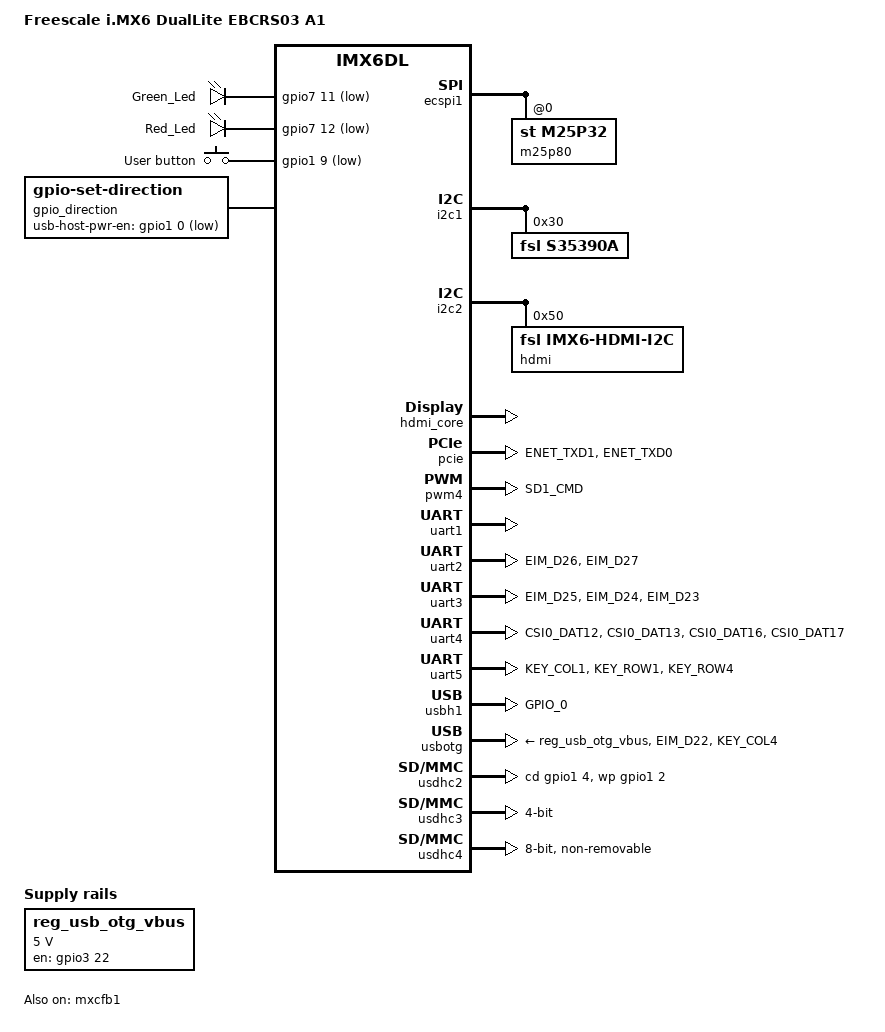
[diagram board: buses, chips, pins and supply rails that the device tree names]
/*
 * Copyright 2012 Freescale Semiconductor, Inc.
 * Copyright 2011 Linaro Ltd.
 *
 * The code contained herein is licensed under the GNU General Public
 * License. You may obtain a copy of the GNU General Public License
 * Version 2 or later at the following locations:
 *
 * http://www.opensource.org/licenses/gpl-license.html
 * http://www.gnu.org/copyleft/gpl.html
 */

/dts-v1/;

#include "imx6dl.dtsi"
#include "imx6qdl-advantech.dtsi"

/ {
	model = "Freescale i.MX6 DualLite EBCRS03 A1";
	compatible = "fsl,imx6dl-sabresd", "fsl,imx6dl";

	board {
		compatible = "proc-board";
		board-type = "EBC-RS03 A1";
		board-cpu = "DualLiteSolo";
	};

	regulators {

		reg_usb_otg_vbus: usb_otg_vbus {
			compatible = "regulator-fixed";
			regulator-name = "usb_otg_vbus";
			regulator-min-microvolt = <5000000>;
			regulator-max-microvolt = <5000000>;
			gpio = <&gpio3 22  GPIO_ACTIVE_HIGH>;
			enable-active-high;
		};
	};

	leds {
		compatible = "gpio-leds";
		pinctrl-names = "default";
		pinctrl-0 = <&pinctrl_leds_debug_1>;
		green {
			label = "Green_Led";
			gpios = <&gpio7 11 1>;
			default-state = "on";
			linux,default-trigger = "heartbeat";
		};
		red {
			label = "Red_Led";
			gpios = <&gpio7 12 1>;
			default-state = "on";
			linux,default-trigger = "heartbeat";
		};
	};

        gpio-keys {
                compatible = "gpio-keys";
                #address-cells = <1>;
                #size-cells = <0>;
                pinctrl-0 = <&pinctrl_user_key>;
                pinctrl-names = "default";
                power@1 {
                        label = "User button";
                        gpios = <&gpio1 9 1>; /* GPIO_ACTIVE_LOW:1 */
                        linux,input-type = <1>; /* EV_KEY */
                        linux,code = <240>;     /* KEY_UNKNOWN */
                        debounce_interval = <1>;
                };
        };

        gpio_direction {
                pinctrl-names = "default";
                compatible = "gpio-set-direction";
                usb-host-pwr-en = <&gpio1 0 1>;
        };

};

&audio_sgtl5000 {
	status = "disabled";
};

&ecspi1 {
	m25p80@0 {
		compatible = "st,m25p32";
	};
};

&i2c1 {
	pinctrl-0 = <&pinctrl_i2c1_1>;
	s35390a@30 {
		compatible = "fsl,s35390a";
		reg = <0x30>;
	};
};

&i2c2 {

	hdmi: edid@50 {
		compatible = "fsl,imx6-hdmi-i2c";
		reg = <0x50>;
	};
};

&iomuxc {
	pinctrl-names = "default";
	pinctrl-0 = <&pinctrl_hog_1 &pinctrl_hog_2>;

	hog {
		pinctrl_hog_1: hoggrp-1 {
			fsl,pins = <
				MX6QDL_PAD_EIM_D30__GPIO3_IO30		0x0001B0B0	/* BORAD_ID0 */
				MX6QDL_PAD_EIM_D31__GPIO3_IO31		0x000130B0	/* BORAD_ID1 */

			>;
		};

		pinctrl_hog_2: hoggrp-2 {
			fsl,pins = <
				MX6QDL_PAD_GPIO_2__GPIO1_IO02		0x80000000	/* SD2_WP */
				MX6QDL_PAD_GPIO_4__GPIO1_IO04		0x80000000	/* SD2_CD */
				MX6QDL_PAD_SD3_DAT7__GPIO6_IO17		0x80000000	/* SD3_WAKE */
				MX6QDL_PAD_NANDF_CS2__GPIO6_IO15	0x80000000	/* M2_RST */
				MX6QDL_PAD_NANDF_ALE__GPIO6_IO08	0x80000000	/* EMMC_RESET */
				MX6QDL_PAD_NANDF_D0__GPIO2_IO00		0x80000000	/* LAN0_RESET */
				MX6QDL_PAD_NANDF_D4__GPIO2_IO04		0x80000000	/* LAN1_RESET  */
				MX6QDL_PAD_SD3_RST__SD3_RESET		0x80000000	/* SD3_RESET */
				MX6QDL_PAD_NANDF_ALE__GPIO6_IO08	0x80000000	/* EMMC_RESET */
				MX6QDL_PAD_NANDF_RB0__GPIO6_IO10	0x80000000	/* HUB_RESET */		
				MX6QDL_PAD_EIM_CS0__GPIO2_IO23		0x80000000	/* IMX6_DO2 */
				MX6QDL_PAD_EIM_CS1__GPIO2_IO24		0x80000000	/* IMX6_DO3 */
				MX6QDL_PAD_EIM_OE__GPIO2_IO25		0x80000000	/* IMX6_DO1 */
				MX6QDL_PAD_ENET_RXD1__GPIO1_IO26        0x80000000	/* LAN_INT */
				MX6QDL_PAD_SD1_DAT1__GPIO1_IO17      	0x80000000	/* M2_LED1 */
				MX6QDL_PAD_SD1_DAT0__GPIO1_IO16      	0x80000000	/* M2_IRQ */
				MX6QDL_PAD_SD1_DAT3__GPIO1_IO21      	0x80000000	/* UART4_WAKE */
				MX6QDL_PAD_SD1_CMD__GPIO1_IO18      	0x80000000	/* M2_W_DIS2 */
				MX6QDL_PAD_SD1_DAT2__GPIO1_IO19      	0x80000000	/* M2_LED2 */
				MX6QDL_PAD_SD1_CLK__GPIO1_IO20      	0x80000000	/* M2_W_DIS1 */
			>;
		};
	};

        gpio-keys {
                pinctrl_user_key: gpio_userkeygrp-1 {
                        fsl,pins = <
				MX6QDL_PAD_GPIO_9__GPIO1_IO09	        0x80000000	/* USER_BTN*/
                        >;
                };
        };


	leds {
		pinctrl_leds_debug_1: leds_debug1grp-1{
			fsl,pins = <
				MX6QDL_PAD_GPIO_16__GPIO7_IO11		0x1b0b1 /* gpio - green led */
				MX6QDL_PAD_GPIO_17__GPIO7_IO12		0x1b0b1	/* gpio - red led */
			>;
		};
	};

	pcie {
                pinctrl_pcie_1: pcie1grp-1 {
                        fsl,pins = <
                                MX6QDL_PAD_ENET_TXD1__GPIO1_IO29        0x80000000      /* PCIE_WAKE */
                                MX6QDL_PAD_ENET_TXD0__GPIO1_IO30        0x80000000      /* PCIE_CLKREQ */
                        >;
                };
	};

	pwm4 {
		pinctrl_pwm4_1: pwm4grp-1 {
			fsl,pins = <
				MX6QDL_PAD_SD1_CMD__PWM4_OUT		0x1b0b1
			>;
		};
	};

	spi1 {
		pinctrl_ecspi1_cs_0: ecspi1_cs_grp-0 {
			fsl,pins = <
				MX6QDL_PAD_EIM_EB2__GPIO2_IO30		0x80000000	/* ECSPI1_CS0 */
			>;
		};
	};

	uart2 {
		pinctrl_uart2_3: uart2grp-3 { /* DCE mode */
			fsl,pins = <
				MX6QDL_PAD_EIM_D26__UART2_TX_DATA		0x1b0b1
				MX6QDL_PAD_EIM_D27__UART2_RX_DATA		0x1b0b1
			>;
		};
	};

	uart3 {
                pinctrl_uart3_2: uart3grp-2 {
                        fsl,pins = <
                                MX6QDL_PAD_EIM_D25__UART3_RX_DATA 0x1b0b1
                                MX6QDL_PAD_EIM_D24__UART3_TX_DATA 0x1b0b1
                                MX6QDL_PAD_EIM_D23__UART3_CTS_B   0x1b0b1
                        >;
                };
	};

	uart4 {
                pinctrl_uart4_2: uart4grp-2 {
                        fsl,pins = <
                                MX6QDL_PAD_CSI0_DAT12__UART4_TX_DATA	0x1b0b1
                                MX6QDL_PAD_CSI0_DAT13__UART4_RX_DATA	0x1b0b1
                                MX6QDL_PAD_CSI0_DAT16__UART4_RTS_B	0x1b0b1
                                MX6QDL_PAD_CSI0_DAT17__UART4_CTS_B	0x1b0b1
                        >;
                };
	};
	
	uart5 {
                pinctrl_uart5_2: uart5grp-2 {
                        fsl,pins = <
                                MX6QDL_PAD_KEY_COL1__UART5_TX_DATA 0x1b0b1
                                MX6QDL_PAD_KEY_ROW1__UART5_RX_DATA 0x1b0b1
				MX6QDL_PAD_KEY_ROW4__UART5_CTS_B   0x1b0b1
                        >;
                };
	};

	usbh1 {
		pinctrl_usbh1_1: usbh1_grp-1 {
			fsl,pins = <
				MX6QDL_PAD_GPIO_0__GPIO1_IO00		0x00017099	/* USB_HOST_PWR_EN */
			>;
		};
	};

	usbotg {
		pinctrl_usbotg_pwr_1: usbotg_pwr_grp-1 {
			fsl,pins = <
				MX6QDL_PAD_EIM_D22__GPIO3_IO22		0x80000000	/* USB_OTG_PWR */
                                MX6QDL_PAD_KEY_COL4__USB_OTG_OC         0x00017059      /* USB_OTG_OC */
			>;
		};
	};
};

&hdmi_core {
	ipu_id = <0>;
	disp_id = <1>;
	status = "okay";
};

&mxcfb1 {
	status = "okay";
};

&pcie {
	pinctrl-names = "default";
	pinctrl-0 = <&pinctrl_pcie_1>;
	power-on-gpio = <&gpio1 29 0>;
	status = "okay";
};

&pwm4 {
	pinctrl-names = "default";
	pinctrl-0 = <&pinctrl_pwm4_1>;
	status = "okay";

};

&ssi2 {
	status = "disabled";
};

&uart1 {
	pinctrl-names = "default";
	pinctrl-0 = <&pinctrl_uart1_1>;
	status = "okay";
};

&uart2 {
	pinctrl-names = "default";
	pinctrl-0 = <&pinctrl_uart2_3>;
	status = "okay";
};

&uart3 {
	pinctrl-names = "default";
	pinctrl-0 = <&pinctrl_uart3_2>;
	fsl,uart-has-rtscts;
	status = "okay";
};

&uart4 {
	pinctrl-names = "default";
	pinctrl-0 = <&pinctrl_uart4_2>;
	fsl,uart-has-rtscts;
	status = "okay";
};

&uart5 {
	pinctrl-names = "default";
	pinctrl-0 = <&pinctrl_uart5_2>;
	fsl,uart-has-rtscts;
	status = "okay";
};

&usbh1 {
	pinctrl-names = "default";
	pinctrl-0 = <&pinctrl_usbh1_1>;
	status = "okay";
};

&usbotg {
	pinctrl-names = "default";
	pinctrl-0 = <&pinctrl_usbotg_1 &pinctrl_usbotg_pwr_1>;
	vbus-supply = <&reg_usb_otg_vbus>;
	imx6-usb-charger-detection;
	status = "okay";
};

&usdhc2 {
	pinctrl-names = "default";
	pinctrl-0 = <&pinctrl_usdhc2_2>;
	cd-gpios = <&gpio1 4 0>;
	wp-gpios = <&gpio1 2 0>;
	no-1-8-v;
	keep-power-in-suspend;
	enable-sdio-wakeup;
	status = "okay";
};

&usdhc3 {
        pinctrl-names = "default";
        pinctrl-0 = <&pinctrl_usdhc3_2>;
        bus-width = <4>;
        status = "okay";
};

&usdhc4 {
	pinctrl-names = "default";
	pinctrl-0 = <&pinctrl_usdhc4_1>;
	bus-width = <8>;
	non-removable;
	no-1-8-v;
	keep-power-in-suspend;
	status = "okay";
};

